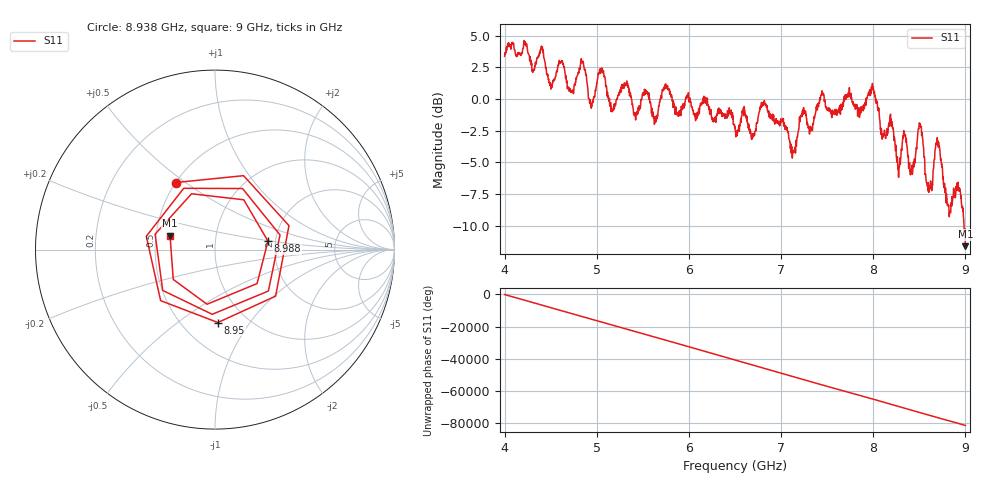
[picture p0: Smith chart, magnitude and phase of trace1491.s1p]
! Created with skrf 1.8.0 (http://scikit-rf.org).
# Hz S RI R 50.0
!freq ReS11 ImS11
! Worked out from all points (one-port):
!   1601 points, 4 GHz to 9 GHz, reference 50 ohm
!   lowest |S11| = -11.6 dB at 9 GHz (marker M1), VSWR 1.71, Z = 29.7 + j4.98 ohm
!   |S11| at or under -10 dB: 8.984776 GHz to end of sweep
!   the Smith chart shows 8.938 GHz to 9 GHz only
!   S11 on the Smith chart (normalised r, x): 8.938 GHz: 0.50, +0.46; 8.95 GHz: 0.74, -0.72; 8.988 GHz: 1.82, +0.19; 9 GHz: 0.59, +0.10
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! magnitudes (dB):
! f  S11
! 4 GHz  3.4
! 4.506 GHz  1.1
! 4.625 GHz  2.9
! 4.725 GHz  0.6
! 4.85 GHz  2.9
! 4.934 GHz  -0.3
! 5.047 GHz  2.2
! 5.166 GHz  -1.0
! 5.25 GHz  0.5
! 5.875 GHz  -1.2
! 6.5 GHz  -2.2
! 6.7 GHz  -3.0
! 6.812 GHz  -0.2
! 7.125 GHz  -4.1
! 7.241 GHz  -1.2
! 7.75 GHz  0.4
! 7.997 GHz  1.0
! 8.275 GHz  -6.2
! 8.375 GHz  -4.5
! 8.428 GHz  -5.8
! 8.509 GHz  -1.9
! 8.594 GHz  -7.3
! 8.697 GHz  -3.3
! 8.816 GHz  -8.4
! 8.938 GHz  -7.3
! 8.95 GHz  -7.8
! 8.988 GHz  -10.5
! 9 GHz  -11.6
